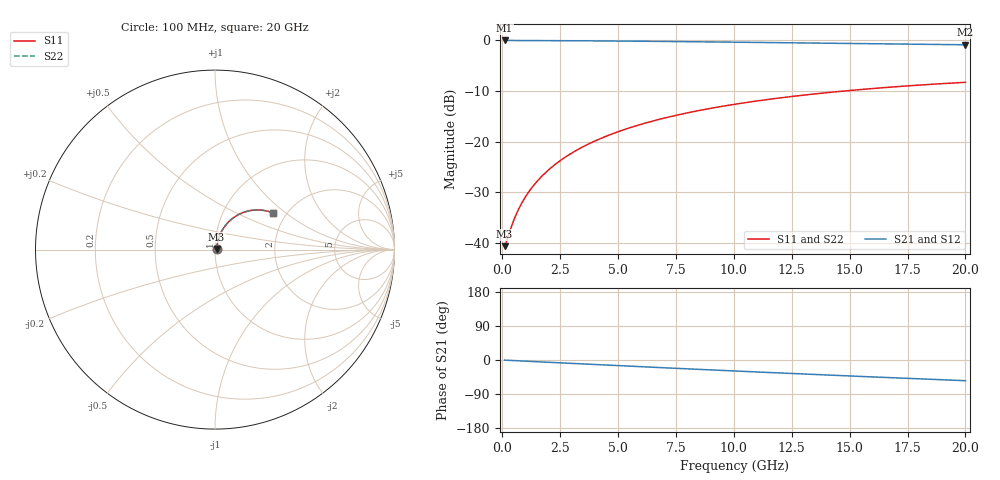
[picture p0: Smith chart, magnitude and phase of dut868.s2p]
! Touchstone file exported from HFSS 2026.1.0
!  File:  C:/ffzhzh/LocalFiles/Ansys_Project_Files/temp_train_TMRDL_868_1783157252_51560.aedt
!  Generated:  05:28:40 PM Jul  4, 2026
!  Design:  TMRDL
!  Project:  temp_train_TMRDL_868_1783157252_51560
! Variables:
!  h_bsmrdl = 2um
!  h_ox = 20um
!  h_rdl = 5um
!  h_sub = 80um
!  h_tmrdl = 3.42um
!  h_tsv = 80um
!  h_via = 3um
!  l_bsmrdl = 300um
!  l_sub = 1322.22um
!  l_tmrdl = 922.22um
!  m_sub = 200um
!  pitch = 21.76um
!  r_tsv = 6um
!  s_tmrdl = 10um
!  w_bsmrdl = 18um
!  w_sub = 500um
!  w_tmrdl = 10.62um
!  x_tsv_center1 = 927.53um
!  x_tsv_center2 = 1245.53um
!  x_tsv_center3 = 2178.37um
!  x_tsv_center4 = 2496.37um
!  x_tsv_center5 = 3429.21um
!  x_tsv_center6 = 3747.21um
# GHz S MA R 50.000000
! Terminal data exported
! Port[1] = TM_RDL1_1_T1
! Port[2] = TM_RDL1_1_T2
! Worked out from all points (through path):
!   200 points, 100 MHz to 20 GHz, reference 50 ohm
!   highest |S21| = -0.08 dB at 100 MHz (marker M1); lowest = -0.9 dB at 20 GHz (marker M2)
!   group delay of S21, straight-line fit = 7.58 ps
!   lowest |S11| = -40.6 dB at 100 MHz (marker M3), VSWR 1.02, Z = 50.9 + j0.29 ohm
!   |S11| at or under -10 dB: start of sweep to 14.84 GHz
!   |S22| runs from -40.6 to -8.3 dB; largest |S21 - S12| = 2.1e-15
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0.1  0.009351 17.7  0.9911 -0.3  0.9911 -0.3  0.009351 17.7
! Gamma 0 0 0 0
! Port Impedance 50 0 50 0
0.2  0.01071 31.8  0.9909 -0.6  0.9909 -0.6  0.0107 31.8
0.4  0.01469 48.7  0.9905 -1.3  0.9905 -1.3  0.01469 48.7
0.5  0.01693 53.5  0.9902 -1.6  0.9902 -1.6  0.01693 53.5
0.7  0.02155 59.9  0.9897 -2.2  0.9897 -2.2  0.02155 59.9
0.8  0.02388 62.1  0.9895 -2.5  0.9895 -2.5  0.02389 62.1
1  0.0286 65.3  0.9891 -3.1  0.9891 -3.1  0.0286 65.3
1.3  0.03577 68.4  0.9886 -3.9  0.9886 -3.9  0.03577 68.4
1.7  0.04545 70.6  0.9879 -5.1  0.9879 -5.1  0.04545 70.6
2.2  0.05767 71.8  0.9869 -6.6  0.9869 -6.6  0.05767 71.8
2.8  0.07235 72.1  0.9855 -8.4  0.9855 -8.4  0.07236 72.1
3.5  0.0894 71.5  0.9835 -10.5  0.9835 -10.5  0.0894 71.5
4.2  0.1062 70.4  0.9812 -12.5  0.9812 -12.5  0.1063 70.4
5  0.1252 68.8  0.9783 -14.8  0.9783 -14.8  0.1252 68.8
5.9  0.146 66.7  0.9745 -17.4  0.9745 -17.4  0.146 66.7
6.8  0.1661 64.5  0.9703 -20.0  0.9703 -20.0  0.1662 64.6
8.3  0.1983 60.7  0.9627 -24.2  0.9627 -24.2  0.1983 60.8
10.1  0.2345 56.1  0.9529 -29.2  0.9529 -29.2  0.2345 56.2
11.7  0.2642 52.1  0.9439 -33.5  0.9439 -33.5  0.2642 52.1
13.4  0.2935 47.8  0.9341 -38.0  0.9341 -38.0  0.2935 47.8
16.7  0.3432 39.7  0.9157 -46.5  0.9157 -46.5  0.3432 39.8
20  0.3838 31.9  0.8988 -54.6  0.8988 -54.6  0.3838 32.0
